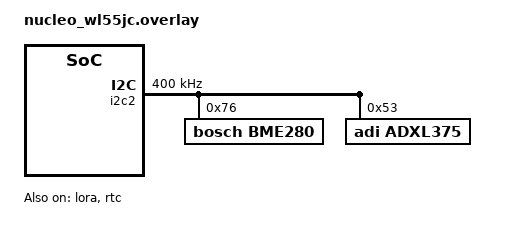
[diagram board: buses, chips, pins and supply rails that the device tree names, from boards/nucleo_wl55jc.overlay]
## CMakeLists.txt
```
cmake_minimum_required(VERSION 3.20)
find_package(Zephyr REQUIRED HINTS $ENV{ZEPHYR_BASE})
project(my_lora_app)

# headers
target_include_directories(app PRIVATE src/include)

# source files
target_sources(app PRIVATE
    src/main.c
    src/lora.c
    src/sensors.c
)
```

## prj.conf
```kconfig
CONFIG_I2C=y
CONFIG_SENSOR=y
CONFIG_BME280=y
CONFIG_FPU=y
CONFIG_DEBUG=y
CONFIG_ADXL375=y

# Enable RTC
CONFIG_RTC=y
CONFIG_RTC_STM32=y

# Enable LoRa Driver Subsystem
CONFIG_LORA=y

# Logging Configuration
CONFIG_LOG=y
CONFIG_LORA_LOG_LEVEL_DBG=y

# System / Threading
CONFIG_MAIN_STACK_SIZE=2048
```

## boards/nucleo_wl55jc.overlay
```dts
/ {
    aliases {
        lora0 = &lora;
    };
};

&lora {
    status = "okay";
    /* Use the correct enum strings for STM32WL */
    power-amplifier-output = "rfo-hp"; 
    
    antenna-enable-gpios = <&gpioc 4 GPIO_ACTIVE_HIGH>,  /* FE_CTRL1 */
                           <&gpioc 5 GPIO_ACTIVE_HIGH>,  /* FE_CTRL2 */
                           <&gpioc 3 GPIO_ACTIVE_HIGH>;  /* FE_CTRL3 */
};

&i2c2 {
    status = "okay";
    clock-frequency = <I2C_BITRATE_FAST>;

    bme280: bme280@76 {
        compatible = "bosch,bme280";
        reg = <0x76>;
        status = "okay";
    };

    /* CS high = 0x53 low = 0x1D */
    ADXL375: ADXL375@53 {
        compatible = "adi,ADXL375";
        reg = <0x53>;
        status = "okay";
    };
};

&rtc {
    status = "okay";
};
```

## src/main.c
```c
#include <zephyr/kernel.h>
#include <zephyr/logging/log.h>
#include "flight_data.h"

#ifdef CONFIG_LORA
#include "lora.h"
#endif

LOG_MODULE_REGISTER(main);

flight_data_t curr_flight_data;
K_MUTEX_DEFINE(flight_data_mutex);

int main(void) {

#ifdef CONFIG_LORA

    if (lora_client_init() < 0) {
        LOG_ERR("Failed to initialize LoRa client subsystem");
        return 0;
    }

    while (1) {
        static const char msg[] = "Hello World";
        
        lora_client_send(msg, sizeof(msg));
        k_sleep(K_SECONDS(5));
    }
#endif

    return 0;
}
```

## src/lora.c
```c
#include <zephyr/kernel.h>
#include <zephyr/device.h>
#include <zephyr/drivers/lora.h>
#include <zephyr/logging/log.h>

#include "lora.h"
LOG_MODULE_REGISTER(lora_client, CONFIG_LOG_DEFAULT_LEVEL);

static const struct device *const lora_dev = DEVICE_DT_GET(DT_ALIAS(lora0));

int lora_client_init(void) {
    struct lora_modem_config config;
    int ret;

    if (!device_is_ready(lora_dev)) {
        LOG_ERR("LoRa device not ready");
        return -ENODEV;
    }

    config.frequency = 915000000; 
    config.bandwidth = BW_125_KHZ;     
    config.datarate = SF_7;           
    config.coding_rate = CR_4_5; 
    config.preamble_len = 8;
    config.tx_power = 14;
    config.tx = true;

    ret = lora_config(lora_dev, &config);
    if (ret < 0) {
        LOG_ERR("LoRa config failed: %d", ret);
        return ret;
    }

    LOG_INF("LoRa client initialized successfully");
    return 0;
}

int lora_client_send(const void *buf, size_t len) {
    int ret = lora_send(lora_dev, (uint8_t *)buf, len);
    if (ret < 0) {
        LOG_ERR("LoRa send failed: %d", ret);
        return ret;
    }
    
    LOG_INF("Message sent (%zu bytes)", len);
    return 0;
}
```

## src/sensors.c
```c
#include <stdint.h>
#include <zephyr/kernel.h>
#include <zephyr/device.h>
#include <zephyr/drivers/sensor.h>
#include <zephyr/drivers/rtc.h>
#include "flight_data.h"

#define SENSOR_THREAD_STACK_SIZE 1024
#define SENSOR_THREAD_PRIORITY   5

#ifdef CONFIG_BME280
static const struct device *get_bme280(void)
{
    static const struct device *bme280;
    static bool initialized;

    if (!initialized) {
        bme280 = DEVICE_DT_GET_ANY(bosch_bme280);
        initialized = true;
    }
    return bme280;
}
#endif

#ifdef CONFIG_ADXL375
static const struct device *get_adxl375(void)
{
    static const struct device *adxl375;
    static bool initialized;

    if (!initialized) {
        adxl375 = DEVICE_DT_GET_ANY(adxl375);
        initialized = true;
    }
    return adxl375;
}
#endif

#ifdef CONFIG_BME280
int read_bme280(const struct device *bme280, float *out_tmp, float *out_press, float *out_hum)
{
    if (!device_is_ready(bme280)) {
        printk("BME280 is not ready\n");
        return -ENODEV;
    }

    int ret = sensor_sample_fetch(bme280);
    if (ret < 0) {
        printk("Failed to get sample (%d)\n", ret);
        return ret;
    }

    struct sensor_value temp, press, hum;
    sensor_channel_get(bme280, SENSOR_CHAN_AMBIENT_TEMP, &temp);
    sensor_channel_get(bme280, SENSOR_CHAN_PRESS, &press);
    sensor_channel_get(bme280, SENSOR_CHAN_HUMIDITY, &hum);

    *out_tmp = sensor_value_to_float(&temp);
    *out_press = sensor_value_to_float(&press) * 10.0f;
    *out_hum = sensor_value_to_float(&hum);

    return 0;
}
#endif
#ifdef CONFIG_ADXL375
int read_adxl375(const struct device *adxl375, float *out_x, float *out_y, float *out_z)
{
    if (!device_is_ready(adxl375)) {
        printk("ADXL375 is not ready\n");
        return -ENODEV;
    }

    int ret = sensor_sample_fetch(adxl375);
    if (ret < 0) {
        printk("Failed to get sample (%d)\n", ret);
        return ret;
    }

    struct sensor_value accel[3];
    sensor_channel_get(adxl375, SENSOR_CHAN_ACCEL_XYZ, accel);

    *out_x = sensor_value_to_float(&accel[0]);
    *out_y = sensor_value_to_float(&accel[1]);
    *out_z = sensor_value_to_float(&accel[2]);

    return 0;
}
#endif
#ifdef CONFIG_RTC
int read_rtc_time(struct rtc_time *rtc_tm)
{
    const struct device *rtc = DEVICE_DT_GET(DT_ALIAS(rtc));

    if (!device_is_ready(rtc)) {
        return -ENODEV;
    }
    return rtc_get_time(rtc, rtc_tm);
}
#endif

void update_flight_data(const flight_data_t *local_data)
{
    k_mutex_lock(&flight_data_mutex, K_FOREVER);

#ifdef CONFIG_BME280
    curr_flight_data.f_internal_tmp = local_data->f_internal_tmp;
    curr_flight_data.f_pressure     = local_data->f_pressure;
    curr_flight_data.f_humidity     = local_data->f_humidity;
#endif

#ifdef CONFIG_ADXL375
    curr_flight_data.f_ACCEL_X      = local_data->f_ACCEL_X;
    curr_flight_data.f_ACCEL_Y      = local_data->f_ACCEL_Y;
    curr_flight_data.f_ACCEL_Z      = local_data->f_ACCEL_Z;
#endif

#ifdef CONFIG_RTC
    curr_flight_data.rtc_time       = local_data->rtc_time;
#endif

    k_mutex_unlock(&flight_data_mutex);
}

#ifdef CONFIG_DEBUG
static void debug_print_bme280(const flight_data_t *data)
{
    printk("temp: %.1f pressure: %.1f humidity: %.1f\n",
           (double)data->f_internal_tmp,
           (double)data->f_pressure,
           (double)data->f_humidity);
}

static void debug_print_adxl375(const flight_data_t *data)
{
    printk("X: %.3f Y: %.3f Z: %.3f m/s^2\n",
           (double)data->f_ACCEL_X,
           (double)data->f_ACCEL_Y,
           (double)data->f_ACCEL_Z);
}

static void debug_print_time(int year, int month, int day, int hour, int min, int sec)
{
    printk("[%04d-%02d-%02d %02d:%02d:%02d] ",
           year + 1900, month + 1, day, hour, min, sec);
}
#endif

void sensor_thread_entry(void *p1, void *p2, void *p3)
{
    flight_data_t local_sample;

    while (1) {
#ifdef CONFIG_BME280
        float tmp, press, hum;

        if (read_bme280(get_bme280(), &tmp, &press, &hum) == 0) {
            local_sample.f_internal_tmp = tmp;
            local_sample.f_pressure     = press;
            local_sample.f_humidity     = hum;
        }
#endif

#ifdef CONFIG_ADXL375
        float ax, ay, az;

        if (read_adxl375(get_adxl375(), &ax, &ay, &az) == 0) {
            local_sample.f_ACCEL_X = ax;
            local_sample.f_ACCEL_Y = ay;
            local_sample.f_ACCEL_Z = az;
        }
#endif

#ifdef CONFIG_RTC
        struct rtc_time rtc_tm;

        if (read_rtc_time(&rtc_tm) == 0) {
            local_sample.rtc_time = rtc_tm;
        }
#endif

        update_flight_data(&local_sample);

#ifdef CONFIG_DEBUG
#ifdef CONFIG_RTC
        debug_print_time(local_sample.rtc_time.tm_year,
                         local_sample.rtc_time.tm_mon,
                         local_sample.rtc_time.tm_mday,
                         local_sample.rtc_time.tm_hour,
                         local_sample.rtc_time.tm_min,
                         local_sample.rtc_time.tm_sec);
#endif
#ifdef CONFIG_BME280
        debug_print_bme280(&local_sample);
#endif
#ifdef CONFIG_ADXL375
        debug_print_adxl375(&local_sample);
#endif
#endif
        k_msleep(100);
    }
}

/* Spawn thread at boot */
K_THREAD_DEFINE(sensor_thread_id, SENSOR_THREAD_STACK_SIZE,
                sensor_thread_entry, NULL, NULL, NULL,
                SENSOR_THREAD_PRIORITY, 0, 0);
```
